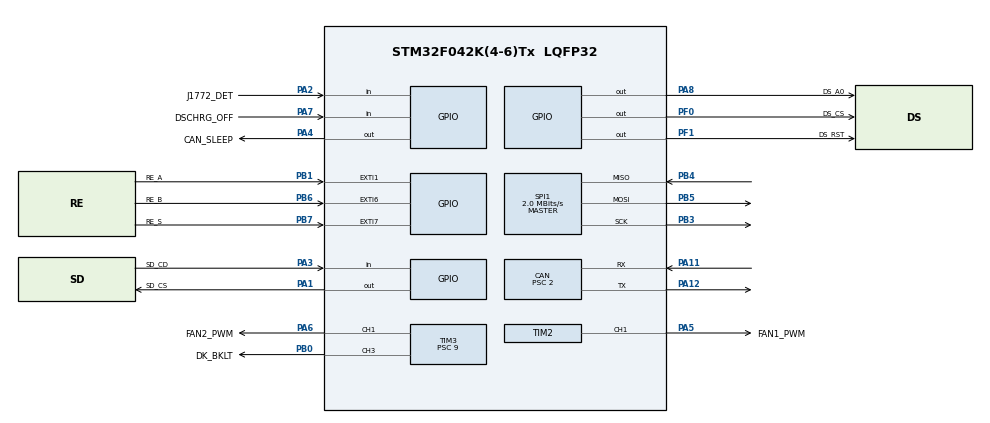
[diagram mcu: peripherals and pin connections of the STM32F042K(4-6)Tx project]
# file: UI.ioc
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CAN.BS1=CAN_BS1_9TQ
CAN.BS2=CAN_BS2_6TQ
CAN.CalculateBaudRate=250000
CAN.CalculateTimeBit=4000
CAN.CalculateTimeQuantum=250.0
CAN.Prescaler=2
CAN.SJW=CAN_SJW_1TQ
Mcu.Family=STM32F0
Mcu.Name=STM32F042K(4-6)Tx
Mcu.Package=LQFP32
NVIC.CEC_CAN_IRQn=true\:0\:0\:false\:false\:true\:true\:true\:true
NVIC.EXTI0_1_IRQn=true\:0\:0\:false\:false\:true\:true\:true\:true
NVIC.EXTI4_15_IRQn=true\:0\:0\:false\:false\:true\:true\:true\:true
PA1.GPIO_Label=SD_CS
PA1.PinState=GPIO_PIN_SET
PA1.Signal=GPIO_Output
PA11.Mode=CAN_Activate
PA11.Signal=CAN_RX
PA12.Mode=CAN_Activate
PA12.Signal=CAN_TX
PA13.GPIO_Label=SWDIO
PA13.Mode=Serial_Wire
PA13.Signal=SYS_SWDIO
PA14.GPIO_Label=SWCLK
PA14.Mode=Serial_Wire
PA14.Signal=SYS_SWCLK
PA2.GPIO_Label=J1772_DET
PA2.GPIO_PuPd=GPIO_PULLUP
PA2.Signal=GPIO_Input
PA3.GPIO_Label=SD_CD
PA3.GPIO_PuPd=GPIO_PULLUP
PA3.Signal=GPIO_Input
PA4.GPIO_Label=CAN_SLEEP
PA4.PinState=GPIO_PIN_SET
PA4.Signal=GPIO_Output
PA5.GPIO_Label=FAN1_PWM
PA5.Signal=S_TIM2_CH1_ETR
PA6.GPIO_Label=FAN2_PWM
PA6.Signal=S_TIM3_CH1
PA7.GPIO_Label=DSCHRG_OFF
PA7.GPIO_PuPd=GPIO_PULLUP
PA7.Signal=GPIO_Input
PA8.GPIO_Label=DS_A0
PA8.PinState=GPIO_PIN_SET
PA8.Signal=GPIO_Output
PB0.GPIO_Label=DK_BKLT
PB0.Signal=S_TIM3_CH3
PB1.GPIO_Label=RE_A
PB1.GPIO_ModeDefaultEXTI=GPIO_MODE_IT_RISING_FALLING
PB1.GPIO_PuPd=GPIO_PULLUP
PB1.Signal=GPXTI1
PB3.Mode=Full_Duplex_Master
PB3.Signal=SPI1_SCK
PB4.Mode=Full_Duplex_Master
PB4.Signal=SPI1_MISO
PB5.Mode=Full_Duplex_Master
PB5.Signal=SPI1_MOSI
PB6.GPIO_Label=RE_B
PB6.GPIO_ModeDefaultEXTI=GPIO_MODE_IT_RISING_FALLING
PB6.GPIO_PuPd=GPIO_PULLUP
PB6.Signal=GPXTI6
PB7.GPIO_Label=RE_S
PB7.GPIO_ModeDefaultEXTI=GPIO_MODE_IT_FALLING
PB7.GPIO_PuPd=GPIO_PULLUP
PB7.Signal=GPXTI7
PF0-OSC_IN.GPIO_Label=DS_CS
PF0-OSC_IN.PinState=GPIO_PIN_SET
PF0-OSC_IN.Signal=GPIO_Output
PF1-OSC_OUT.GPIO_Label=DS_RST
PF1-OSC_OUT.PinState=GPIO_PIN_RESET
PF1-OSC_OUT.Signal=GPIO_Output
ProjectManager.HeapSize=0x200
ProjectManager.StackSize=0x400
ProjectManager.TargetToolchain=CMake
RCC.APB1Freq_Value=8000000
RCC.APB1TimFreq_Value=8000000
SH.S_TIM2_CH1_ETR.0=TIM2_CH1,PWM Generation1 CH1
SH.S_TIM3_CH1.0=TIM3_CH1,PWM Generation1 CH1
SH.S_TIM3_CH3.0=TIM3_CH3,PWM Generation3 CH3
SPI1.BaudRatePrescaler=SPI_BAUDRATEPRESCALER_4
SPI1.CalculateBaudRate=2.0 MBits/s
SPI1.DataSize=SPI_DATASIZE_8BIT
SPI1.Direction=SPI_DIRECTION_2LINES
SPI1.Mode=SPI_MODE_MASTER
SPI1.VirtualType=VM_MASTER
TIM2.Channel-PWM\ Generation1\ CH1=TIM_CHANNEL_1
TIM2.Period=999
TIM2.Prescaler=9
TIM3.AutoReloadPreload=TIM_AUTORELOAD_PRELOAD_ENABLE
TIM3.Channel-PWM\ Generation1\ CH1=TIM_CHANNEL_1
TIM3.Channel-PWM\ Generation3\ CH3=TIM_CHANNEL_3
TIM3.Period=999
TIM3.Prescaler=9
VP_TIM3_VS_ClockSourceINT.Mode=Internal
board=NUCLEO-F042K6

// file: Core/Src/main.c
/* USER CODE BEGIN Header */
/**
 ******************************************************************************
 * @file           : main.c
 * @brief          : Main program body
 ******************************************************************************
 * @attention
 *
 * Copyright (c) 2026 STMicroelectronics.
 * All rights reserved.
 *
 * This software is licensed under terms that can be found in the LICENSE file
 * in the root directory of this software component.
 * If no LICENSE file comes with this software, it is provided AS-IS.
 *
 ******************************************************************************
 */
/* USER CODE END Header */
#include "main.h"

/* USER CODE BEGIN Includes */
#include "can.h"
#include "cpp_main.h"
/* USER CODE END Includes */

/* USER CODE BEGIN PTD */
__attribute__((section(".noinit"))) static uint32_t reset_counter;
__attribute__((section(".noinit"))) static uint32_t reset_counter_magic;
/* USER CODE END PTD */

CAN_HandleTypeDef hcan;

SPI_HandleTypeDef hspi1;

TIM_HandleTypeDef htim2;
TIM_HandleTypeDef htim3;

void SystemClock_Config(void);
static void MX_GPIO_Init(void);
static void MX_CAN_Init(void);
static void MX_SPI1_Init(void);
static void MX_TIM3_Init(void);
static void MX_TIM2_Init(void);

int main(void) {

    /* MCU Configuration--------------------------------------------------------*/

    /* Reset of all peripherals, Initializes the Flash interface and the Systick. */
    HAL_Init();

    /* USER CODE BEGIN Init */
    reset_counter_init();
    /* USER CODE END Init */

    /* Configure the system clock */
    SystemClock_Config();

    /* Initialize all configured peripherals */
    MX_GPIO_Init();
    MX_CAN_Init();
    MX_SPI1_Init();
    MX_TIM3_Init();
    MX_TIM2_Init();
    /* USER CODE BEGIN 2 */

    // all main code is in the cpp_main function
    return cpp_main();

    /* USER CODE END 2 */

    /* Infinite loop */
    /* USER CODE BEGIN WHILE */
    // while (1)
    //{
    /* USER CODE END WHILE */

    /* USER CODE BEGIN 3 */
    //}
    /* USER CODE END 3 */
}

void SystemClock_Config(void) {
    RCC_OscInitTypeDef RCC_OscInitStruct = {0};
    RCC_ClkInitTypeDef RCC_ClkInitStruct = {0};

    /** Initializes the RCC Oscillators according to the specified parameters
     * in the RCC_OscInitTypeDef structure.
     */
    RCC_OscInitStruct.OscillatorType = RCC_OSCILLATORTYPE_HSI;
    RCC_OscInitStruct.HSIState = RCC_HSI_ON;
    RCC_OscInitStruct.HSICalibrationValue = RCC_HSICALIBRATION_DEFAULT;
    RCC_OscInitStruct.PLL.PLLState = RCC_PLL_NONE;
    if (HAL_RCC_OscConfig(&RCC_OscInitStruct) != HAL_OK) {
        Error_Handler();
    }

    /** Initializes the CPU, AHB and APB buses clocks
     */
    RCC_ClkInitStruct.ClockType = RCC_CLOCKTYPE_HCLK | RCC_CLOCKTYPE_SYSCLK | RCC_CLOCKTYPE_PCLK1;
    RCC_ClkInitStruct.SYSCLKSource = RCC_SYSCLKSOURCE_HSI;
    RCC_ClkInitStruct.AHBCLKDivider = RCC_SYSCLK_DIV1;
    RCC_ClkInitStruct.APB1CLKDivider = RCC_HCLK_DIV1;

    if (HAL_RCC_ClockConfig(&RCC_ClkInitStruct, FLASH_LATENCY_0) != HAL_OK) {
        Error_Handler();
    }
}

static void MX_CAN_Init(void) {

    hcan.Instance = CAN;
    hcan.Init.Prescaler = 2;
    hcan.Init.Mode = CAN_MODE_NORMAL;
    hcan.Init.SyncJumpWidth = CAN_SJW_1TQ;
    hcan.Init.TimeSeg1 = CAN_BS1_9TQ;
    hcan.Init.TimeSeg2 = CAN_BS2_6TQ;
    hcan.Init.TimeTriggeredMode = DISABLE;
    hcan.Init.AutoBusOff = DISABLE;
    hcan.Init.AutoWakeUp = DISABLE;
    hcan.Init.AutoRetransmission = DISABLE;
    hcan.Init.ReceiveFifoLocked = DISABLE;
    hcan.Init.TransmitFifoPriority = DISABLE;
    if (HAL_CAN_Init(&hcan) != HAL_OK) {
        Error_Handler();
    }
    /* USER CODE BEGIN CAN_Init 2 */

    CAN_FilterTypeDef canfilterconfig;

    canfilterconfig.FilterActivation = CAN_FILTER_ENABLE;  // CHECK
    canfilterconfig.FilterBank = CAN_FILTER_BANK;
    canfilterconfig.FilterFIFOAssignment = CAN_FILTER_FIFO0;  // CHECK
    canfilterconfig.FilterIdHigh = CAN_FILTER_ID_HIGH;
    canfilterconfig.FilterIdLow = CAN_FILTER_ID_LOW;
    canfilterconfig.FilterMaskIdHigh = CAN_FILTER_MASK_ID_HIGH;
    canfilterconfig.FilterMaskIdLow = CAN_FILTER_MASK_ID_LOW;
    canfilterconfig.FilterMode = CAN_FILTERMODE_IDMASK;
    canfilterconfig.FilterScale = CAN_FILTERSCALE_32BIT;
    canfilterconfig.SlaveStartFilterBank = CAN_SLAVE_START_FILTER_BANK;

    HAL_CAN_ConfigFilter(&hcan, &canfilterconfig);
    /* USER CODE END CAN_Init 2 */
}

static void MX_SPI1_Init(void) {

    /* SPI1 parameter configuration*/
    hspi1.Instance = SPI1;
    hspi1.Init.Mode = SPI_MODE_MASTER;
    hspi1.Init.Direction = SPI_DIRECTION_2LINES;
    hspi1.Init.DataSize = SPI_DATASIZE_8BIT;
    hspi1.Init.CLKPolarity = SPI_POLARITY_LOW;
    hspi1.Init.CLKPhase = SPI_PHASE_1EDGE;
    hspi1.Init.NSS = SPI_NSS_SOFT;
    hspi1.Init.BaudRatePrescaler = SPI_BAUDRATEPRESCALER_4;
    hspi1.Init.FirstBit = SPI_FIRSTBIT_MSB;
    hspi1.Init.TIMode = SPI_TIMODE_DISABLE;
    hspi1.Init.CRCCalculation = SPI_CRCCALCULATION_DISABLE;
    hspi1.Init.CRCPolynomial = 7;
    hspi1.Init.CRCLength = SPI_CRC_LENGTH_DATASIZE;
    hspi1.Init.NSSPMode = SPI_NSS_PULSE_ENABLE;
    if (HAL_SPI_Init(&hspi1) != HAL_OK) {
        Error_Handler();
    }
}

static void MX_TIM2_Init(void) {

    TIM_MasterConfigTypeDef sMasterConfig = {0};
    TIM_OC_InitTypeDef sConfigOC = {0};

    htim2.Instance = TIM2;
    htim2.Init.Prescaler = 9;
    htim2.Init.CounterMode = TIM_COUNTERMODE_UP;
    htim2.Init.Period = 999;
    htim2.Init.ClockDivision = TIM_CLOCKDIVISION_DIV1;
    htim2.Init.AutoReloadPreload = TIM_AUTORELOAD_PRELOAD_DISABLE;
    if (HAL_TIM_PWM_Init(&htim2) != HAL_OK) {
        Error_Handler();
    }
    sMasterConfig.MasterOutputTrigger = TIM_TRGO_RESET;
    sMasterConfig.MasterSlaveMode = TIM_MASTERSLAVEMODE_DISABLE;
    if (HAL_TIMEx_MasterConfigSynchronization(&htim2, &sMasterConfig) != HAL_OK) {
        Error_Handler();
    }
    sConfigOC.OCMode = TIM_OCMODE_PWM1;
    sConfigOC.Pulse = 0;
    sConfigOC.OCPolarity = TIM_OCPOLARITY_HIGH;
    sConfigOC.OCFastMode = TIM_OCFAST_DISABLE;
    if (HAL_TIM_PWM_ConfigChannel(&htim2, &sConfigOC, TIM_CHANNEL_1) != HAL_OK) {
        Error_Handler();
    }
    HAL_TIM_MspPostInit(&htim2);
}

static void MX_TIM3_Init(void) {

    TIM_ClockConfigTypeDef sClockSourceConfig = {0};
    TIM_MasterConfigTypeDef sMasterConfig = {0};
    TIM_OC_InitTypeDef sConfigOC = {0};

    htim3.Instance = TIM3;
    htim3.Init.Prescaler = 9;
    htim3.Init.CounterMode = TIM_COUNTERMODE_UP;
    htim3.Init.Period = 999;
    htim3.Init.ClockDivision = TIM_CLOCKDIVISION_DIV1;
    htim3.Init.AutoReloadPreload = TIM_AUTORELOAD_PRELOAD_ENABLE;
    if (HAL_TIM_Base_Init(&htim3) != HAL_OK) {
        Error_Handler();
    }
    sClockSourceConfig.ClockSource = TIM_CLOCKSOURCE_INTERNAL;
    if (HAL_TIM_ConfigClockSource(&htim3, &sClockSourceConfig) != HAL_OK) {
        Error_Handler();
    }
    if (HAL_TIM_PWM_Init(&htim3) != HAL_OK) {
        Error_Handler();
    }
    sMasterConfig.MasterOutputTrigger = TIM_TRGO_RESET;
    sMasterConfig.MasterSlaveMode = TIM_MASTERSLAVEMODE_DISABLE;
    if (HAL_TIMEx_MasterConfigSynchronization(&htim3, &sMasterConfig) != HAL_OK) {
        Error_Handler();
    }
    sConfigOC.OCMode = TIM_OCMODE_PWM1;
    sConfigOC.Pulse = 0;
    sConfigOC.OCPolarity = TIM_OCPOLARITY_HIGH;
    sConfigOC.OCFastMode = TIM_OCFAST_DISABLE;
    if (HAL_TIM_PWM_ConfigChannel(&htim3, &sConfigOC, TIM_CHANNEL_1) != HAL_OK) {
        Error_Handler();
    }
    if (HAL_TIM_PWM_ConfigChannel(&htim3, &sConfigOC, TIM_CHANNEL_3) != HAL_OK) {
        Error_Handler();
    }
    HAL_TIM_MspPostInit(&htim3);
}

static void MX_GPIO_Init(void) {
    GPIO_InitTypeDef GPIO_InitStruct = {0};

    /* GPIO Ports Clock Enable */
    __HAL_RCC_GPIOF_CLK_ENABLE();
    __HAL_RCC_GPIOA_CLK_ENABLE();
    __HAL_RCC_GPIOB_CLK_ENABLE();

    /*Configure GPIO pin Output Level */
    HAL_GPIO_WritePin(DS_CS_GPIO_Port, DS_CS_Pin, GPIO_PIN_SET);

    /*Configure GPIO pin Output Level */
    HAL_GPIO_WritePin(DS_RST_GPIO_Port, DS_RST_Pin, GPIO_PIN_RESET);

    /*Configure GPIO pin Output Level */
    HAL_GPIO_WritePin(GPIOA, SD_CS_Pin | CAN_SLEEP_Pin | DS_A0_Pin, GPIO_PIN_SET);

    /*Configure GPIO pins : DS_CS_Pin DS_RST_Pin */
    GPIO_InitStruct.Pin = DS_CS_Pin | DS_RST_Pin;
    GPIO_InitStruct.Mode = GPIO_MODE_OUTPUT_PP;
    GPIO_InitStruct.Pull = GPIO_NOPULL;
    GPIO_InitStruct.Speed = GPIO_SPEED_FREQ_LOW;
    HAL_GPIO_Init(GPIOF, &GPIO_InitStruct);

    /*Configure GPIO pins : SD_CS_Pin CAN_SLEEP_Pin DS_A0_Pin */
    GPIO_InitStruct.Pin = SD_CS_Pin | CAN_SLEEP_Pin | DS_A0_Pin;
    GPIO_InitStruct.Mode = GPIO_MODE_OUTPUT_PP;
    GPIO_InitStruct.Pull = GPIO_NOPULL;
    GPIO_InitStruct.Speed = GPIO_SPEED_FREQ_LOW;
    HAL_GPIO_Init(GPIOA, &GPIO_InitStruct);

    /*Configure GPIO pins : J1772_DET_Pin SD_CD_Pin DSCHRG_OFF_Pin */
    GPIO_InitStruct.Pin = J1772_DET_Pin | SD_CD_Pin | DSCHRG_OFF_Pin;
    GPIO_InitStruct.Mode = GPIO_MODE_INPUT;
    GPIO_InitStruct.Pull = GPIO_PULLUP;
    HAL_GPIO_Init(GPIOA, &GPIO_InitStruct);

    /*Configure GPIO pins : RE_A_Pin RE_B_Pin */
    GPIO_InitStruct.Pin = RE_A_Pin | RE_B_Pin;
    GPIO_InitStruct.Mode = GPIO_MODE_IT_RISING_FALLING;
    GPIO_InitStruct.Pull = GPIO_PULLUP;
    HAL_GPIO_Init(GPIOB, &GPIO_InitStruct);

    /*Configure GPIO pin : RE_S_Pin */
    GPIO_InitStruct.Pin = RE_S_Pin;
    GPIO_InitStruct.Mode = GPIO_MODE_IT_FALLING;
    GPIO_InitStruct.Pull = GPIO_PULLUP;
    HAL_GPIO_Init(RE_S_GPIO_Port, &GPIO_InitStruct);

    /* EXTI interrupt init*/
    HAL_NVIC_SetPriority(EXTI0_1_IRQn, 0, 0);
    HAL_NVIC_EnableIRQ(EXTI0_1_IRQn);

    HAL_NVIC_SetPriority(EXTI4_15_IRQn, 0, 0);
    HAL_NVIC_EnableIRQ(EXTI4_15_IRQn);

}

/* USER CODE BEGIN 4 */
void reset_counter_init(void) {
    if (reset_counter_magic != RESET_COUNTER_MAGIC) {
        // Power cycle — RAM is garbage, initialize properly
        reset_counter = 0;
        reset_counter_magic = RESET_COUNTER_MAGIC;
    }
    // Soft reset — counter retains its value
}

void HAL_GPIO_EXTI_Callback(uint16_t GPIO_Pin) {
    // HAL_UART_Transmit(&huart2, (uint8_t*)"Intr!\n", 7, HAL_MAX_DELAY);
    CPP_HAL_GPIO_EXTI_Callback(GPIO_Pin);
}

/* USER CODE END 4 */

void Error_Handler(void) {
    /* USER CODE BEGIN Error_Handler_Debug */
    /* USER CODE BEGIN Error_Handler_Debug */
    /* User can add his own implementation to report the HAL error return state */
    // Check if SysTick is running (HAL_Init has been called)
    // HAL_GetTick() returns 0 if SysTick hasn't started
    uint32_t tick = HAL_GetTick();

    // Check if GPIO is configured by testing if BMS_OK pin is set up
    // We do this by checking if the GPIO clock is enabled
    // bool gpio_ready = __HAL_RCC_GPIOC_IS_CLK_ENABLED();
    // bool can_ready  = __HAL_RCC_CAN_IS_CLK_ENABLED();

    // Drive BMS_OK low if GPIO is ready
    // if (can_ready) {
    uint8_t data[4];
    data[3] = (uint8_t)INIT_ERROR;
    if (CAN_SendData(&hcan, CAN_ID_CHARGER_ERRORS, data, 4, false) != HAL_OK) {
        CAN_error_info.message_init_send_errors |= (1 << INIT_CAN_SEND_ERROR);
    }
    CAN_error_info.message_init_send_errors &= ~(1 << INIT_CAN_SEND_ERROR);
    //}

    // put error on display
    DisplayError();

    // Delay only if SysTick is running
    if (tick > 0) {
        HAL_Delay(ERROR_HANDLER_DELAY_MS);
    }

    reset_counter++;
    if (reset_counter > MAX_SOFT_RESETS) {
        // Stuck in boot loop — halt and wait for watchdog
        // or physical intervention
        while (1) {
            // if(can_ready){
            uint8_t data[4];
            data[3] = (uint8_t)INIT_ERROR;
            if (CAN_SendData(&hcan, CAN_ID_CHARGER_ERRORS, data, 4, false) != HAL_OK) {
                CAN_error_info.message_init_send_errors |= (1 << INIT_CAN_SEND_ERROR);
            }
            CAN_error_info.message_init_send_errors &= ~(1 << INIT_CAN_SEND_ERROR);
            //}
        }
    }

    NVIC_SystemReset();
    /* USER CODE END Error_Handler_Debug */
    /* USER CODE END Error_Handler_Debug */
}
